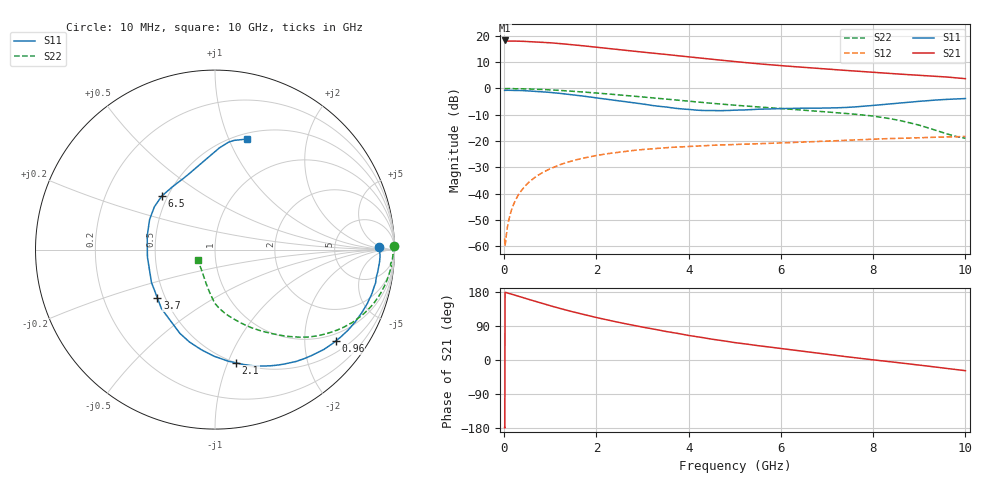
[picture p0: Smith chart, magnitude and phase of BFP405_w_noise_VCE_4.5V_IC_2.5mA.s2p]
! Infineon Technologies  Discrete & RF Semiconductors
! BFP405
! VCE =  4.5 V,  IC =  2.5 mA
! Common Emitter S-Parameters:  Jan 2016
# GHz  S  MA  R  50
!  f  S11  S21  S12  S22
! GHz  MAG  ANG  MAG  ANG  MAG  ANG  MAG  ANG
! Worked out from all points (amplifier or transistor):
!   233 points, 10 MHz to 10 GHz, reference 50 ohm
!   highest |S21| = 18.2 dB at 10 MHz (marker M1)
!   |S21| within 3 dB of that: start of sweep to 2.232 GHz
!   unconditionally stable (mu >= 1): 13.23 MHz to 18.42 MHz; 4.206 GHz to end of sweep
!   at 200 MHz: K = 0.17, MSG = 31.1 dB, |S12| = -44.3 dB
!   at 1.74 GHz: K = 0.36, MSG = 21.3 dB, |S12| = -26.4 dB
!   at 10 GHz: K = 1.60, MAG = 6.4 dB, |S12| = -18.3 dB
!   lowest NFmin = 0.94 dB at 900 MHz
!   S11 on the Smith chart (normalised r, x): 10 MHz: 22, +4; 960 MHz: 0.78, -2.77; 2.1 GHz: 0.50, -1.07; 3.7 GHz: 0.45, -0.30; 6.5 GHz: 0.46, +0.34; 10 GHz: 0.56, +1.16
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0.01  0.9153 1.0  8.146 -178.0  0.0014 0.2  0.9968 1.0
0.02  0.9169 -0.4  7.993 178.5  0.001 37.0  0.9875 0.2
0.1  0.9202 -3.8  7.95 175.6  0.0031 70.2  0.9921 -1.7
0.28  0.9128 -10.9  7.911 169.4  0.0086 79.3  0.9846 -5.2
0.5  0.9004 -19.5  7.805 161.3  0.0153 77.4  0.9761 -9.2
0.78  0.8691 -30.3  7.58 151.1  0.0235 72.9  0.9568 -14.2
0.96  0.8435 -37.2  7.397 144.7  0.0286 69.7  0.9406 -17.4
1.12  0.819 -43.3  7.227 139.1  0.0329 66.8  0.9244 -20.2
1.32  0.7846 -50.8  6.966 132.5  0.0381 63.3  0.9016 -23.4
1.68  0.7193 -64.1  6.496 121.3  0.0465 57.2  0.8571 -28.9
2.1  0.642 -79.5  5.93 109.5  0.0548 50.8  0.803 -34.5
2.62  0.5593 -98.6  5.302 95.9  0.0634 43.7  0.7367 -40.9
3  0.5058 -112.8  4.904 86.8  0.0687 39.1  0.6886 -45.2
3.4  0.4517 -128.0  4.507 77.9  0.0733 34.5  0.6382 -49.4
3.7  0.4193 -139.9  4.233 71.5  0.0762 31.5  0.6029 -52.4
4  0.3983 -152.7  3.985 64.8  0.079 28.6  0.5694 -55.5
4.5  0.3788 -173.7  3.589 55.0  0.0828 24.3  0.5205 -60.5
5.1  0.3867 165.8  3.173 44.4  0.0863 20.0  0.4713 -66.0
6.5  0.4207 134.9  2.517 22.6  0.0955 12.8  0.3845 -77.3
6.8  0.4202 128.1  2.401 18.1  0.0979 11.2  0.3673 -79.7
8.4  0.5105 94.9  1.911 -5.0  0.1113 1.6  0.2624 -94.3
10  0.6406 74.0  1.529 -28.2  0.1216 -7.8  0.1124 -148.0
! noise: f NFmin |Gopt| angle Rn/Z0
0.9  0.94  0.53  14  0.37
1.8  1.25  0.42  26  0.35
2.4  1.45  0.36  35  0.34
3  1.48  0.34  51  0.32
4  1.69  0.22  76  0.25
5  2.05  0.17  117  0.21
